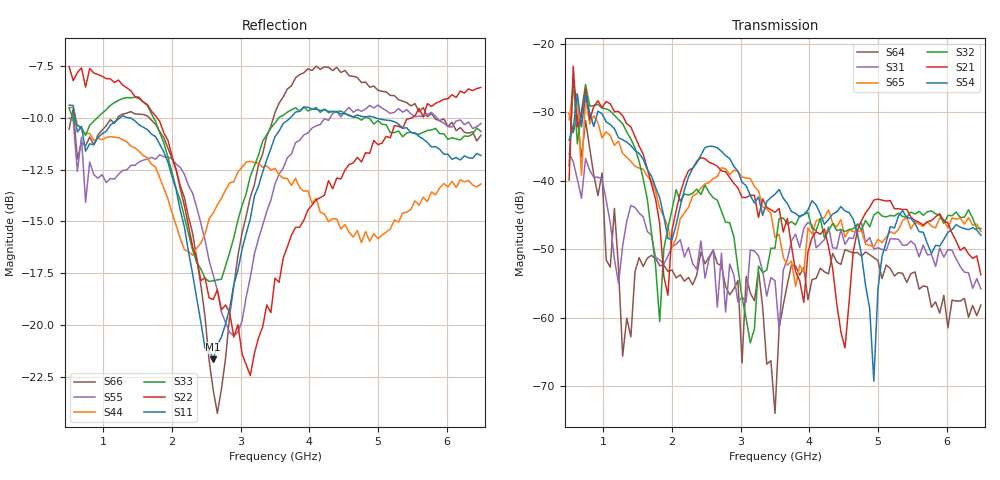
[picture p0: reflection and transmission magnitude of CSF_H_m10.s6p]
!Keysight Technologies,M9804A,MY58100912,A.14.10.03
!Date: Thursday, April 27, 2023 10:28:33
!Correction: S11(C  6-Port  )
!S12(C  6-Port  )
!S13(C  6-Port  )
!S14(C  6-Port  )
!S15(C  6-Port  )
!S16(C  6-Port  )
!S21(C  6-Port  )
!S22(C  6-Port  )
!S23(C  6-Port  )
!S24(C  6-Port  )
!S25(C  6-Port  )
!S26(C  6-Port  )
!S31(C  6-Port  )
!S32(C  6-Port  )
!S33(C  6-Port  )
!S34(C  6-Port  )
!S35(C  6-Port  )
!S36(C  6-Port  )
!S41(C  6-Port  )
!S42(C  6-Port  )
!S43(C  6-Port  )
!S44(C  6-Port  )
!S45(C  6-Port  )
!S46(C  6-Port  )
!S51(C  6-Port  )
!S52(C  6-Port  )
!S53(C  6-Port  )
!S54(C  6-Port  )
!S55(C  6-Port  )
!S56(C  6-Port  )
!S61(C  6-Port  )
!S62(C  6-Port  )
!S63(C  6-Port  )
!S64(C  6-Port  )
!S65(C  6-Port  )
!S66(C  6-Port  )
!S6P File: Measurement: :
# Hz S  RI  R 50
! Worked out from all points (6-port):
!   101 points, 500 MHz to 6.5 GHz, reference 50 ohm
!   strongest paths, dB at 500 MHz, 2 GHz, 3.5 GHz, 5 GHz, 6.5 GHz:
!     S54: -34.1, -48.6, -42.0, -55.9, -48.0
!     S21: -39.9, -47.2, -44.6, -42.7, -53.7
!     S32: -37.8, -44.2, -49.8, -44.5, -47.0
!     S65: -31.1, -49.7, -48.3, -48.6, -47.4
!     S31: -36.0, -49.6, -54.6, -49.8, -55.8
!     S64: -30.2, -53.0, -73.9, -51.7, -58.2
!   lowest |S11| = -21.7 dB at 2.6 GHz (marker M1), VSWR 1.18, Z = 42.6 + j1.99 ohm
!   |S11| at or under -10 dB: 588.2 MHz to 1.239 GHz (650.4 MHz wide, 71.2 % of centre); 1.391 GHz to 3.72 GHz (2.329 GHz wide, 91.2 % of centre); 4.973 GHz to end of sweep
